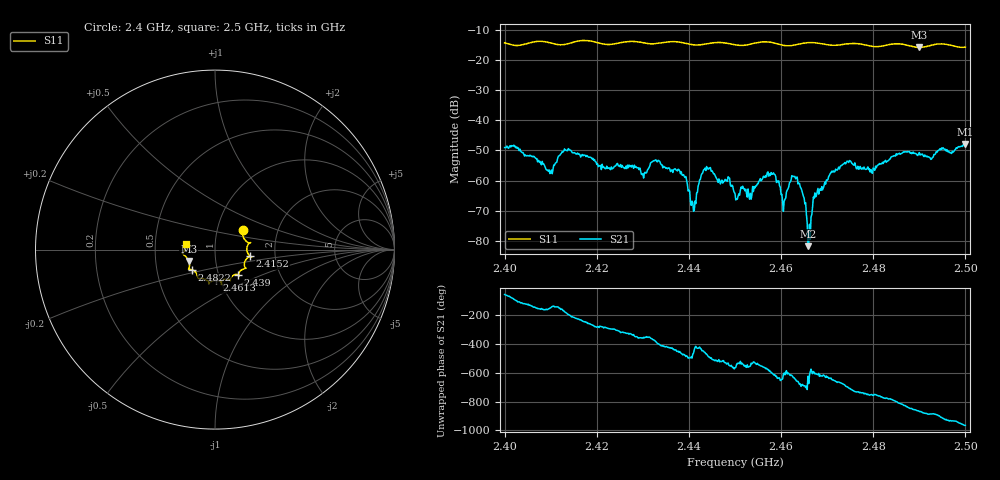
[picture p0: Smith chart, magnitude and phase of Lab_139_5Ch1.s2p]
# Hz S RI R 50
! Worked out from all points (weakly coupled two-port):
!   601 points, 2.4 GHz to 2.5 GHz, reference 50 ohm
!   highest |S21| = -47.90 dB at 2.5 GHz (marker M1); lowest = -81.7 dB at 2.4658 GHz (marker M2)
!   lowest |S11| = -15.9 dB at 2.49 GHz (marker M3), VSWR 1.38, Z = 36.9 - j4.83 ohm
!   |S11| at or under -10 dB: start of sweep to end of sweep
!   S12 and S22 are empty: the file has one direction only
!   S11 on the Smith chart (normalised r, x): 2.4 GHz: 1.33, +0.31; 2.4152 GHz: 1.48, -0.11; 2.439 GHz: 1.24, -0.36; 2.4613 GHz: 0.96, -0.34; 2.4822 GHz: 0.76, -0.17; 2.5 GHz: 0.72, +0.05
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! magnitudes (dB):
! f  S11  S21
! 2.4 GHz  -14.4  -49.1
! 2.4098 GHz  -14.4  -57.7
! 2.4152 GHz  -14.1  -50.7
! 2.4167 GHz  -13.6  -51.8
! 2.4302 GHz  -14.4  -59.2
! 2.4333 GHz  -14.5  -53.3
! 2.439 GHz  -14.5  -58.7
! 2.4408 GHz  -15.0  -67.3
! 2.4438 GHz  -14.7  -55.4
! 2.45 GHz  -15.0  -64.3
! 2.4575 GHz  -14.1  -57.8
! 2.4605 GHz  -15.2  -70.2
! 2.4613 GHz  -15.3  -63.2
! 2.4635 GHz  -14.9  -58.9
! 2.4658 GHz  -14.3  -81.7
! 2.4667 GHz  -14.3  -71.3
! 2.4675 GHz  -14.4  -65.4
! 2.4733 GHz  -14.9  -54.7
! 2.4822 GHz  -15.4  -54.4
! 2.4833 GHz  -15.0  -53.4
! 2.49 GHz  -15.9  -50.8
! 2.5 GHz  -15.8  -47.9
